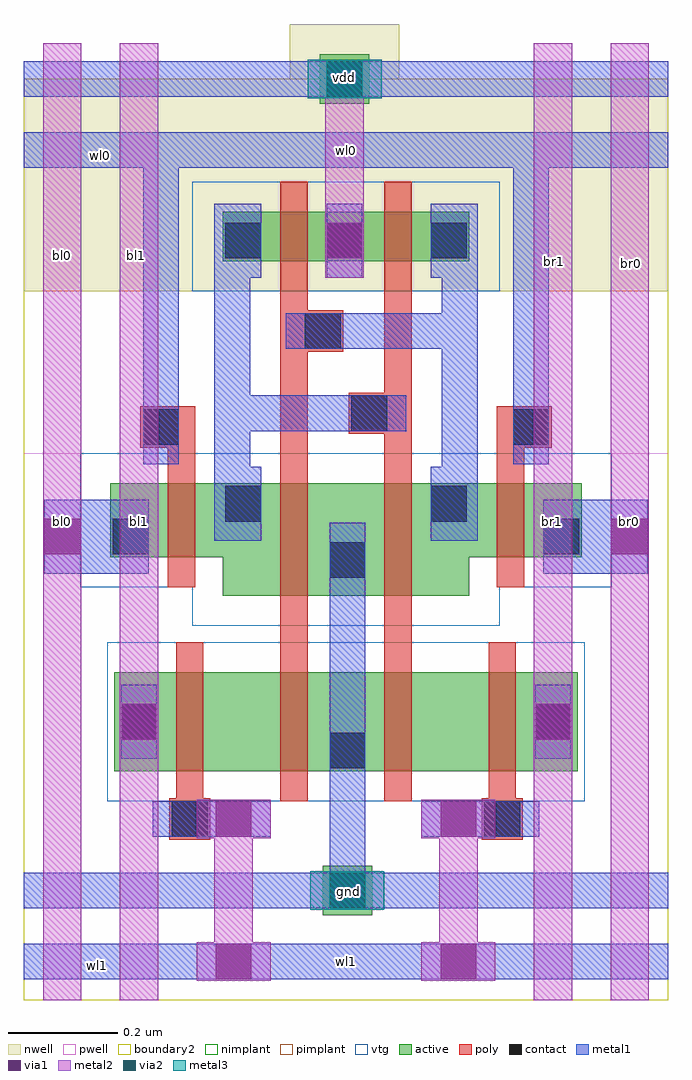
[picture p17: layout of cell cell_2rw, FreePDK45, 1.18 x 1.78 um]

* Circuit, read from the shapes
.subckt cell_2rw bl0 bl1 br0 br1 gnd vdd wl0 wl1
M1 n1 wl0 bl0 gnd nfet w=0.135u l=0.05u
M2 n2 wl1 bl1 gnd nfet w=0.18u l=0.05u
M3 gnd n3 n2 gnd nfet w=0.18u l=0.05u
M4 gnd n3 n1 gnd nfet w=0.205u l=0.05u
M5 n4 n1 gnd gnd nfet w=0.18u l=0.05u
M6 n3 n1 gnd gnd nfet w=0.205u l=0.05u
M7 br1 wl1 n4 gnd nfet w=0.18u l=0.05u
M8 br0 wl0 n3 gnd nfet w=0.135u l=0.05u
M9 vdd n3 n1 vdd pfet w=0.09u l=0.05u
M10 n3 n1 vdd vdd pfet w=0.09u l=0.05u
.ends

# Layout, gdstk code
import gdstk
lib = gdstk.Library(unit=1e-6, precision=5e-10)
def R(c, l, rs):  # rectangles x0, y0, x1, y1
    for r in rs: c.add(gdstk.rectangle(r[:2], r[2:], *l))
def A(c, l, x, y, w, h, nx, ny, dx, dy):  # array of equal rectangles
    R(c, l, [(x+i*dx, y+j*dy, x+i*dx+w, y+j*dy+h) for i in range(nx) for j in range(ny)])
active = (1, 0)
pwell = (2, 0)
nwell = (3, 0)
nimplant = (4, 0)
pimplant = (5, 0)
vtg = (6, 0)
poly = (9, 0)
contact = (10, 0)
metal1 = (11, 0)
via1 = (12, 0)
metal2 = (13, 0)
via2 = (14, 0)
metal3 = (15, 0)
boundary2 = (239, 0)

cell_2rw = lib.new_cell('cell_2rw')
R(cell_2rw, active, [(0.545,0.155,0.635,0.245), (0.165,0.4175,0.22,0.5975), (0.2075,0.4175,0.2775,0.5975), (0.2075,0.4175,0.3975,0.5975), (0.3275,0.4175,0.3975,0.5975), (0.3975,0.4175,0.4675,0.5975), (0.3975,0.4175,0.5875,0.5975), (0.5175,0.4175,0.5875,0.5975), (0.5525,0.4175,0.6275,0.4925), (0.5525,0.4175,0.6275,0.5975), (0.5525,0.4175,0.6275,0.5975), (0.5525,0.4175,0.7775,0.5975), (0.7075,0.4175,0.7775,0.5975), (0.7775,0.4175,0.8475,0.5975), (0.7775,0.4175,0.9675,0.5975), (0.8975,0.4175,0.9675,0.5975), (0.955,0.4175,1.01,0.5975), (0.165,0.4625,0.255,0.5525), (0.92,0.4625,1.01,0.5525), (0.3625,0.7375,0.4375,0.9425), (0.3625,0.7375,0.4375,0.9425), (0.3625,0.7375,0.5875,0.9425), (0.5175,0.7375,0.5875,0.9425), (0.5875,0.7375,0.6575,0.9425), (0.5875,0.7375,0.8125,0.9425), (0.7375,0.7375,0.8125,0.9425), (0.7375,0.7375,0.8125,0.9425), (0.545,0.7575,0.635,0.8475), (0.1575,0.8075,0.2325,0.8825), (0.1575,0.8075,0.2325,0.9425), (0.1575,0.8075,0.2325,0.9425), (0.1575,0.8075,0.3825,0.9425), (0.3125,0.8075,0.3825,0.9425), (0.7925,0.8075,0.8625,0.9425), (0.7925,0.8075,1.0175,0.9425), (0.9425,0.8075,1.0175,0.8825), (0.9425,0.8075,1.0175,0.9425), (0.9425,0.8075,1.0175,0.9425), (0.3625,0.8675,0.4375,0.9425), (0.7375,0.8675,0.8125,0.9425), (0.3625,1.3475,0.4375,1.4225), (0.3625,1.3475,0.4375,1.4375), (0.3625,1.3475,0.4375,1.4375), (0.3625,1.3475,0.6225,1.4375), (0.5475,1.3475,0.6225,1.4225), (0.5475,1.3475,0.6225,1.4375), (0.5475,1.3475,0.6225,1.4375), (0.5875,1.3475,0.6575,1.4375), (0.5875,1.3475,0.8125,1.4375), (0.7375,1.3475,0.8125,1.4225), (0.7375,1.3475,0.8125,1.4375), (0.7375,1.3475,0.8125,1.4375), (0.54,1.635,0.63,1.725)])
R(cell_2rw, pwell, [(0,0,1.175,0.9975), (0.49,0.1,0.69,0.3), (0.1525,0.3625,0.4525,0.6525), (0.3425,0.3625,0.6425,0.6525), (0.4975,0.3625,0.8325,0.6525), (0.7225,0.3625,1.0225,0.6525), (0.3075,0.6825,0.6425,0.9975), (0.5325,0.6825,0.8675,0.9975), (0.1025,0.7525,0.4375,0.9975), (0.7375,0.7525,1.0725,0.9975)])
R(cell_2rw, nwell, [(0,1.2925,1.175,1.68), (0.3075,1.2925,0.6775,1.4925), (0.5325,1.2925,0.8675,1.4925), (0.485,1.58,0.685,1.78)])
R(cell_2rw, nimplant, [(0.165,0.4175,0.22,0.5975), (0.2075,0.4175,0.3975,0.5975), (0.3975,0.4175,0.5875,0.5975), (0.5525,0.4175,0.7775,0.5975), (0.7775,0.4175,0.9675,0.5975), (0.955,0.4175,1.01,0.5975), (0.165,0.4625,0.255,0.5525), (0.92,0.4625,1.01,0.5525), (0.3625,0.7375,0.5875,0.9425), (0.5875,0.7375,0.8125,0.9425), (0.545,0.7575,0.635,0.8475), (0.1575,0.8075,0.3825,0.9425), (0.7925,0.8075,1.0175,0.9425), (0.54,1.635,0.63,1.725)])
R(cell_2rw, pimplant, [(0.545,0.155,0.635,0.245), (0.3625,1.3475,0.6225,1.4375), (0.5875,1.3475,0.8125,1.4375)])
R(cell_2rw, vtg, [(0.1525,0.3625,0.4525,0.6525), (0.3425,0.3625,0.6425,0.6525), (0.4975,0.3625,0.8325,0.6525), (0.7225,0.3625,1.0225,0.6525), (0.3075,0.6825,0.6425,0.9975), (0.5325,0.6825,0.8675,0.9975), (0.1025,0.7525,0.4375,0.9975), (0.7375,0.7525,1.0725,0.9975), (0.3075,1.2925,0.6775,1.4925), (0.5325,1.2925,0.8675,1.4925)])
A(cell_2rw, poly, 0.2775, 0.3625, 0.05, 0.055, 4, 2, 0.19, 0.235)
A(cell_2rw, poly, 0.2775, 0.3625, 0.05, 0.29, 4, 1, 0.19, 0)
R(cell_2rw, poly, [(0.265,0.2925,0.34,0.3675), (0.835,0.2925,0.91,0.3675), (0.6575,0.625,0.7075,0.71), (0.4675,0.635,0.5175,0.71), (0.4675,0.6825,0.5175,0.9975), (0.4675,0.6825,0.5175,0.7375), (0.6575,0.6825,0.7075,0.9975), (0.6575,0.6825,0.7075,0.7375), (0.2625,0.7525,0.3125,0.8075), (0.2625,0.7525,0.3125,0.9975), (0.8625,0.7525,0.9125,0.8075), (0.8625,0.7525,0.9125,0.9975), (0.4675,0.9075,0.5175,1.32), (0.6575,0.9075,0.7075,1.32), (0.2625,0.9425,0.3125,0.9975), (0.4675,0.9425,0.5175,0.9975), (0.6575,0.9425,0.7075,0.9975), (0.8625,0.9425,0.9125,0.9975), (0.2625,0.985,0.3125,1.0825), (0.8625,0.985,0.9125,1.0825), (0.2125,1.0075,0.2875,1.0825), (0.8875,1.0075,0.9625,1.0825), (0.5925,1.0325,0.6675,1.1075), (0.5075,1.1825,0.5825,1.2575), (0.4675,1.2925,0.5175,1.3475), (0.4675,1.2925,0.5175,1.4925), (0.6575,1.2925,0.7075,1.3475), (0.6575,1.2925,0.7075,1.4925), (0.4675,1.4375,0.5175,1.4925), (0.6575,1.4375,0.7075,1.4925)])
R(cell_2rw, contact, [(0.5575,0.1675,0.6225,0.2325), (0.27,0.2975,0.335,0.3625), (0.84,0.2975,0.905,0.3625), (0.5575,0.4225,0.6225,0.4875), (0.1775,0.475,0.2425,0.54), (0.9325,0.475,0.9975,0.54), (0.5575,0.77,0.6225,0.835), (0.1625,0.8125,0.2275,0.8775), (0.9475,0.8125,1.0125,0.8775), (0.3675,0.8725,0.4325,0.9375), (0.7425,0.8725,0.8075,0.9375), (0.2175,1.0125,0.2825,1.0775), (0.8925,1.0125,0.9575,1.0775), (0.5975,1.0375,0.6625,1.1025), (0.5125,1.1875,0.5775,1.2525), (0.3675,1.3525,0.4325,1.4175), (0.5525,1.3525,0.6175,1.4175), (0.7425,1.3525,0.8075,1.4175), (0.5525,1.6475,0.6175,1.7125)])
R(cell_2rw, metal1, [(0,0.0375,1.175,0.1025), (0,0.0375,1.175,0.1025), (0.315,0.0375,0.45,0.1025), (0.725,0.0375,0.86,0.1025), (0.11,0.05,0.1725,0.08), (0,0.1675,1.175,0.2325), (0.5225,0.1675,0.6575,0.2325), (0.5575,0.1975,0.6225,0.8), (0.235,0.2975,0.37,0.3625), (0.315,0.2975,0.45,0.3625), (0.725,0.2975,0.86,0.3625), (0.805,0.2975,0.94,0.3625), (0.5575,0.3875,0.6225,0.5225), (0.1775,0.44,0.2425,0.575), (0.1775,0.44,0.2425,0.575), (0.9325,0.44,0.9975,0.575), (0.9325,0.44,0.9975,0.575), (0.5575,0.735,0.6225,0.87), (0.0375,0.7775,0.1025,0.9125), (0.0375,0.7775,0.2275,0.9125), (0.1625,0.7775,0.2275,0.9125), (0.9475,0.7775,1.0125,0.9125), (0.9475,0.7775,1.1375,0.9125), (1.0725,0.7775,1.1375,0.9125), (0.3475,0.8375,0.4125,1.4525), (0.3675,0.8375,0.4325,0.9725), (0.7425,0.8375,0.8075,0.9725), (0.7625,0.8375,0.8275,1.4525), (0.2175,0.9775,0.2825,1.1125), (0.8925,0.9775,0.9575,1.1125), (0.3675,1.0375,0.5825,1.1025), (0.5625,1.0375,0.6975,1.1025), (0.2175,1.08,0.2825,1.57), (0.8925,1.08,0.9575,1.57), (0.4775,1.1875,0.6125,1.2525), (0.5925,1.1875,0.8275,1.2525), (0.3675,1.3175,0.4325,1.4525), (0.5525,1.3175,0.6175,1.4525), (0.5525,1.3175,0.6175,1.4525), (0.7425,1.3175,0.8075,1.4525), (0,1.5175,1.175,1.5825), (0,1.5175,1.175,1.5825), (0.1,1.5275,0.185,1.5625), (0,1.6475,1.175,1.7125), (0.5175,1.6475,0.6525,1.7125), (0.5175,1.6475,0.6525,1.7125)])
R(cell_2rw, via1, [(0.35,0.0375,0.415,0.1025), (0.76,0.0375,0.825,0.1025), (0.5575,0.1675,0.6225,0.2325), (0.35,0.2975,0.415,0.3625), (0.76,0.2975,0.825,0.3625), (0.1775,0.475,0.2425,0.54), (0.9325,0.475,0.9975,0.54), (0.0375,0.8125,0.1025,0.8775), (1.0725,0.8125,1.1375,0.8775), (0.5525,1.3525,0.6175,1.4175), (0.5525,1.6475,0.6175,1.7125)])
R(cell_2rw, metal2, [(0.035,0,0.105,1.745), (0.035,0,0.105,1.745), (0.175,0,0.245,1.745), (0.175,0,0.245,1.745), (0.93,0,1,1.745), (0.93,0,1,1.745), (1.07,0,1.14,1.745), (1.07,0,1.14,1.745), (0.315,0.035,0.45,0.105), (0.725,0.035,0.86,0.105), (0.3475,0.1025,0.4175,0.365), (0.7575,0.1025,0.8275,0.365), (0.5225,0.165,0.6575,0.235), (0.315,0.295,0.45,0.365), (0.725,0.295,0.86,0.365), (0.175,0.44,0.245,0.575), (0.93,0.44,1,0.575), (0.035,0.7775,0.105,0.9125), (1.07,0.7775,1.14,0.9125), (0.55,1.3175,0.62,1.4525), (1.0875,1.3225,1.1325,1.3575), (0.9525,1.33,0.985,1.36), (0.1925,1.34,0.23,1.365), (0.0475,1.3425,0.09,1.37), (0.55,1.3425,0.62,1.7125), (0.5175,1.645,0.6525,1.715)])
R(cell_2rw, via2, [(0.5575,0.1675,0.6225,0.2325), (0.5525,1.6475,0.6175,1.7125)])
R(cell_2rw, metal3, [(0.5225,0.165,0.6575,0.235), (0.5225,0.165,0.6575,0.235), (0.5825,0.1875,0.605,0.21), (0.5175,1.645,0.6525,1.715), (0.5175,1.645,0.6525,1.715), (0.58,1.6775,0.59,1.6875)])
R(cell_2rw, boundary2, [(0,0,1.175,1.68)])
cell_2rw.add(gdstk.Label('wl1', (0.135,0.0625), layer=11, texttype=0))
cell_2rw.add(gdstk.Label('wl0', (0.14,1.54), layer=11, texttype=0))
cell_2rw.add(gdstk.Label('br0', (1.1075,1.3425), layer=13, texttype=0))
cell_2rw.add(gdstk.Label('br1', (0.9675,1.3475), layer=13, texttype=0))
cell_2rw.add(gdstk.Label('bl1', (0.205,1.3575), layer=13, texttype=0))
cell_2rw.add(gdstk.Label('bl0', (0.07,1.3575), layer=13, texttype=0))
cell_2rw.add(gdstk.Label('vdd', (0.585,1.6825), layer=15, texttype=0))
cell_2rw.add(gdstk.Label('gnd', (0.5925,0.1975), layer=15, texttype=0))
cell_2rw.add(gdstk.Label('bl0', (0.07,0.8725), layer=13, texttype=0))
cell_2rw.add(gdstk.Label('br0', (1.105,0.8725), layer=13, texttype=0))
cell_2rw.add(gdstk.Label('bl1', (0.21,0.8725), layer=13, texttype=0))
cell_2rw.add(gdstk.Label('br1', (0.965,0.8725), layer=13, texttype=0))
cell_2rw.add(gdstk.Label('wl0', (0.5875,1.55), layer=11, texttype=0))
cell_2rw.add(gdstk.Label('wl1', (0.5875,0.07), layer=11, texttype=0))
cell_2rw.add(gdstk.Label('vdd', (0.585,1.68), layer=15, texttype=0))
cell_2rw.add(gdstk.Label('gnd', (0.59,0.2), layer=15, texttype=0))

lib.write_gds('cell_2rw.gds')
